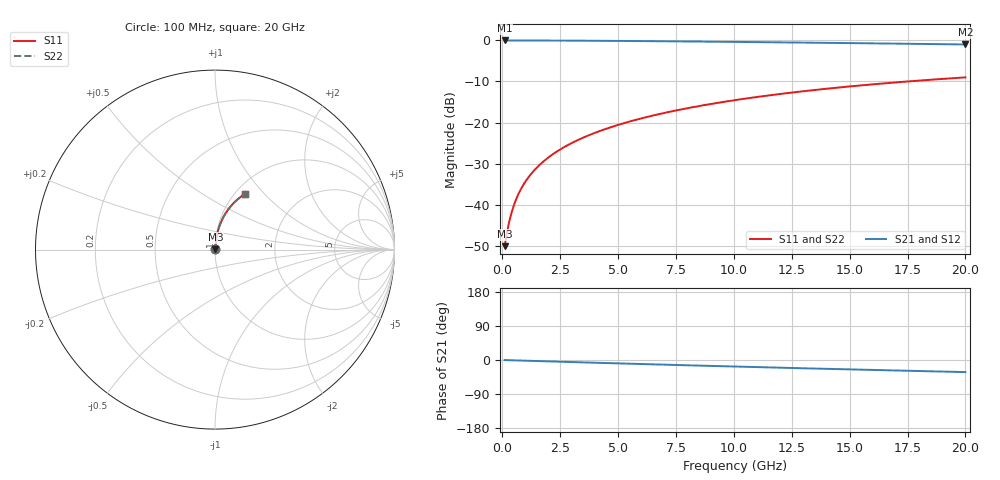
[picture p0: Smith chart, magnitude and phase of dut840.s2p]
! Touchstone file exported from HFSS 2024.1.0
!  File:  C:/UserFiles/LocalFiles/RDL_TSV_Batchsim/temp_RDL_bottom_840_1779863649.aedt
!  Generated:  02:36:36 PM May 27, 2026
!  Design:  RDL_bottom
!  Project:  temp_RDL_bottom_840_1779863649
!  Setup:  Setup1
!  Solution:  Sweep
! Variables:
!  dtsv = 10.80580581um
!  hbump = 3um
!  htsv = 73.57um
!  ldown = 417.9um
!  lrdl = 100um
!  p = 40
!  p1 = 45.92um
!  rhole = 1um
!  t = 450um
!  tdown = 4.43um
!  trdl = 3.915915916um
!  wdown = 14.2um
!  wrdl = 20um
# GHz S MA R 50.000000
! Terminal data exported
! Port[1] = RDL1_T1
! Port[2] = RDL1_T2
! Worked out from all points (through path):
!   200 points, 100 MHz to 20 GHz, reference 50 ohm
!   highest |S21| = -0.02 dB at 100 MHz (marker M1); lowest = -1.0 dB at 20 GHz (marker M2)
!   group delay of S21, straight-line fit = 4.42 ps
!   lowest |S11| = -50.0 dB at 100 MHz (marker M3), VSWR 1.01, Z = 50.2 + j0.198 ohm
!   |S11| at or under -10 dB: start of sweep to 17.49 GHz
!   |S22| runs from -50.0 to -9.0 dB; largest |S21 - S12| = 5.5e-15
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0.1  0.003149 38.7  0.9975 -0.2  0.9975 -0.2  0.003149 38.7
! Gamma 0 0 0 0
! Port Impedance 50 0 50 0
0.2  0.004575 57.8  0.9975 -0.4  0.9975 -0.4  0.004575 57.8
0.3  0.006266 67.0  0.9974 -0.6  0.9974 -0.6  0.006266 67.0
0.4  0.008055 72.0  0.9973 -0.7  0.9973 -0.7  0.008055 72.0
0.5  0.009888 75.1  0.9972 -0.9  0.9972 -0.9  0.009888 75.1
0.6  0.01174 77.2  0.9971 -1.1  0.9971 -1.1  0.01174 77.2
0.8  0.01548 79.7  0.9969 -1.5  0.9969 -1.5  0.01548 79.7
1.1  0.0211 81.5  0.9965 -2.0  0.9965 -2.0  0.0211 81.5
1.5  0.02858 82.6  0.9959 -2.7  0.9959 -2.7  0.02858 82.6
1.8  0.03418 83.0  0.9954 -3.3  0.9954 -3.3  0.03418 83.0
2.1  0.03976 83.2  0.9948 -3.8  0.9948 -3.8  0.03976 83.2
2.7  0.05093 83.2  0.9933 -4.9  0.9933 -4.9  0.05093 83.2
3.5  0.06582 82.9  0.9908 -6.3  0.9908 -6.3  0.06582 82.9
4.2  0.07888 82.3  0.9883 -7.6  0.9883 -7.6  0.07888 82.3
5  0.09382 81.6  0.985 -9.0  0.985 -9.0  0.09382 81.6
5.9  0.1106 80.7  0.981 -10.5  0.981 -10.5  0.1106 80.7
6.8  0.1275 79.7  0.9765 -12.0  0.9765 -12.0  0.1275 79.7
8.3  0.1554 77.8  0.9685 -14.5  0.9685 -14.5  0.1554 77.8
10.1  0.1886 75.4  0.9581 -17.4  0.9581 -17.4  0.1886 75.4
13.4  0.2478 70.8  0.9373 -22.4  0.9373 -22.4  0.2478 70.8
16.7  0.3035 66.1  0.9151 -27.3  0.9151 -27.3  0.3035 66.1
20  0.355 61.5  0.8918 -31.9  0.8918 -31.9  0.3549 61.5
